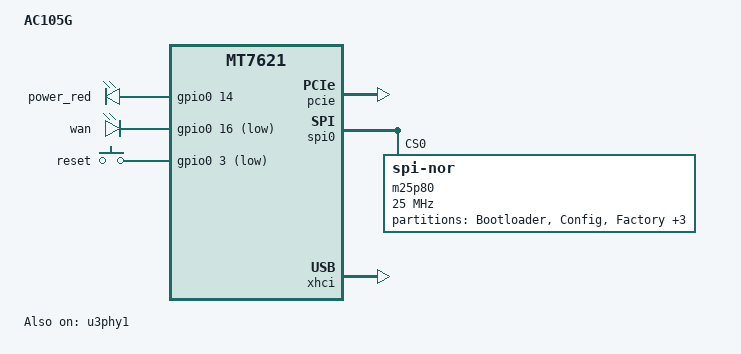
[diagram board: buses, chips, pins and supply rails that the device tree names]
/dts-v1/;

#include "mt7621.dtsi"
#include <dt-bindings/input/input.h>
#include "mt7621-raeth-gmac2.dtsi"
#include "mt7621-pinctrl-default-gpio.dtsi"

/ {
	compatible = "mediatek,mt7621-soc";
	model = "AC105G";

	chosen {
		bootargs = "console=ttyS0,115200";
	};

	leds {
		compatible = "gpio-leds";

		sys_red {
			label = "power_red";
			gpios = <&gpio0 14 GPIO_ACTIVE_HIGH>;
		};

		wan {
			label = "wan";
			gpios = <&gpio0 16 GPIO_ACTIVE_LOW>;
		};
	};

	gpio-keys-polled {
		compatible = "gpio-keys-polled";
		#address-cells = <1>;
		#size-cells = <0>;
		poll-interval = <20>;

		reset {
			label = "reset";
			gpios = <&gpio0 3 GPIO_ACTIVE_LOW>;
			linux,code = <KEY_RESTART>;

		};
	};
};

&pcie {
	status = "okay";
};

&spi0 {
	status = "okay";

	m25p80@0 {
		#address-cells = <1>;
		#size-cells = <1>;
		compatible = "jedec,spi-nor";
		reg = <0>;
		spi-max-frequency = <25000000>;

		partition@0 {
			label = "Bootloader";
			reg = <0x00000 0x30000>; /* 192K */
		};

		partition@30000 {
			label = "Config";
			reg = <0x30000 0x10000>; /* 64K */
		};

		partition@40000 {
			label = "Factory";
			reg = <0x40000 0x10000>; /* 64K */
		};

		partition@50000 {
			label = "firmware";
			reg = <0x50000 0x1730000>;
		};

		partition@1f80000 {
			label = "Storage";
			reg = <0x1760000 0x60000>; /* 512K */
		};

		partition@all {
			label = "ALL";
			reg = <0x0 0x2500000>;
		};
	};
};

&xhci {
	status = "okay";
};

&u3phy1 {
	status = "okay";
};
